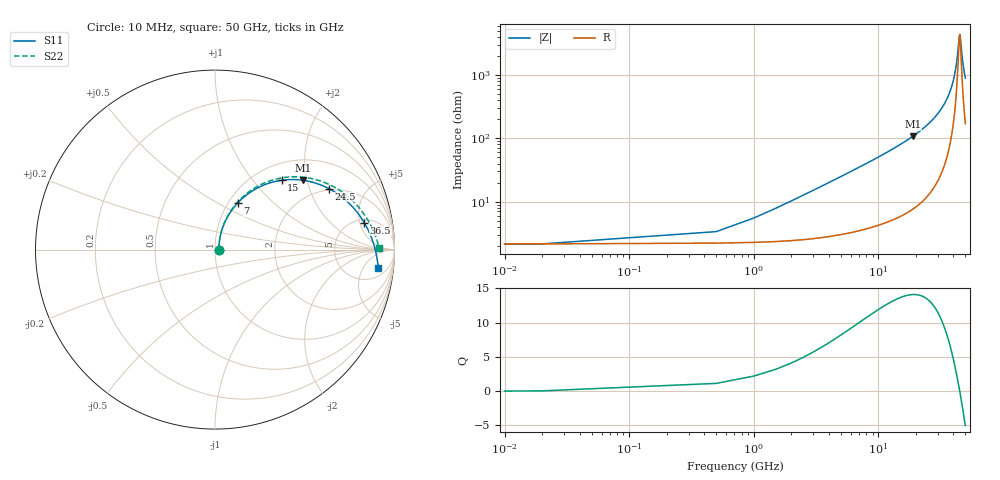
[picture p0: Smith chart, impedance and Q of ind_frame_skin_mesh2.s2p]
! Created with skrf 2.2.0 (http://scikit-rf.org).
# GHz S DB R 50.0
! Port[1] = P1
! Port[2] = P2
!freq dBS11 angS11 dBS21 angS21 dBS12 angS12 dBS22 angS22
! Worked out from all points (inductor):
!   102 points, 10 MHz to 50 GHz, reference 50 ohm
!   read as 1/Y11, port 2 shorted: L = 791 pH near 1.5 GHz
!   highest Q = 14.1 at 19 GHz (marker M1), where L = 905 pH
!   self-resonance near 45 GHz
!   S11 on the Smith chart (normalised r, x): 10 MHz: 1.04, +0.00; 7 GHz: 1.10, +0.63; 15 GHz: 1.31, +1.42; 24.5 GHz: 1.93, +2.72; 36.5 GHz: 5.59, +5.88; 50 GHz: 8, -11
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0.01  -33.54 1.2  -0.18 -0.0  -0.18 -0.0  -33.54 1.2
0.5  -30.18 44.4  -0.19 -1.6  -0.19 -1.6  -30.18 44.5
1  -26.15 60.7  -0.21 -3.1  -0.21 -3.1  -26.15 60.8
1.5  -23.15 66.9  -0.23 -4.6  -0.23 -4.6  -23.15 67.1
2  -20.87 69.6  -0.25 -6.1  -0.25 -6.1  -20.87 69.7
2.5  -19.05 70.6  -0.28 -7.6  -0.28 -7.6  -19.06 70.8
3.5  -16.29 70.4  -0.35 -10.4  -0.35 -10.4  -16.30 70.8
4.5  -14.25 69.1  -0.43 -13.3  -0.43 -13.3  -14.26 69.6
5.5  -12.64 67.2  -0.52 -16.0  -0.52 -16.0  -12.65 67.8
7  -10.76 64.0  -0.68 -20.1  -0.68 -20.1  -10.77 64.8
8.5  -9.29 60.6  -0.87 -24.0  -0.87 -24.0  -9.30 61.5
11.5  -7.14 53.7  -1.30 -31.4  -1.30 -31.4  -7.15 55.1
15  -5.42 46.1  -1.89 -39.3  -1.89 -39.3  -5.43 47.9
17  -4.69 42.0  -2.25 -43.5  -2.25 -43.5  -4.70 44.1
19  -4.08 38.1  -2.63 -47.5  -2.63 -47.5  -4.09 40.4
24.5  -2.87 28.3  -3.72 -57.4  -3.72 -57.4  -2.88 31.3
25.5  -2.70 26.6  -3.92 -59.0  -3.92 -59.0  -2.71 29.7
29.5  -2.14 20.3  -4.74 -65.2  -4.74 -65.2  -2.15 24.0
33.5  -1.72 14.4  -5.58 -70.9  -5.58 -70.9  -1.73 18.7
36.5  -1.47 10.3  -6.21 -74.9  -6.21 -74.9  -1.48 15.0
42  -1.11 3.1  -7.38 -81.8  -7.38 -81.8  -1.12 8.7
50  -0.77 -6.6  -9.16 -90.9  -9.16 -90.9  -0.77 0.4
